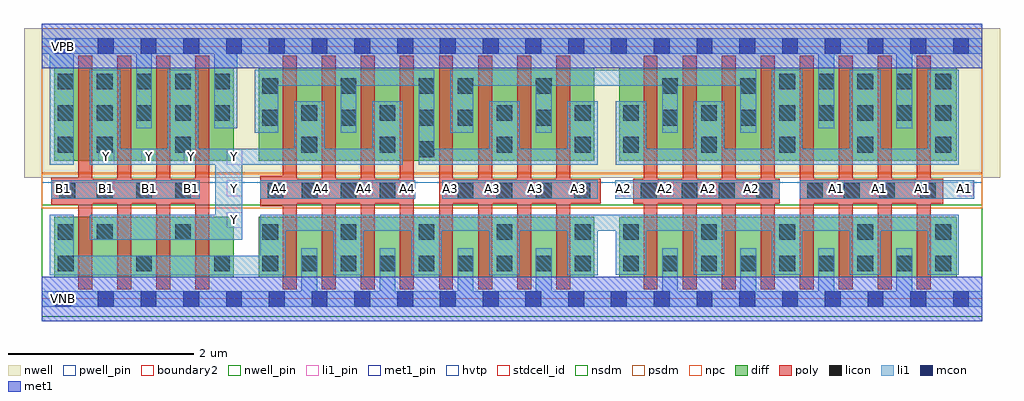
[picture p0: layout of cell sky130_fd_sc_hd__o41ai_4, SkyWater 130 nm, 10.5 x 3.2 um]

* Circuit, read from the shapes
.subckt sky130_fd_sc_hd__o41ai_4 A1 A2 A3 A4 B1 VGND VNB VPB VPWR Y
XM1 Y B1 n1 VNB sky130_fd_pr__nfet_01v8 w=0.65 l=0.15 m=4
XM2 VGND A4 n1 VNB sky130_fd_pr__nfet_01v8 w=0.65 l=0.15 m=4
XM3 VGND A3 n1 VNB sky130_fd_pr__nfet_01v8 w=0.65 l=0.15 m=4
XM4 VGND A2 n1 VNB sky130_fd_pr__nfet_01v8 w=0.65 l=0.15 m=4
XM5 VGND A1 n1 VNB sky130_fd_pr__nfet_01v8 w=0.65 l=0.15 m=4
XM6 Y B1 VPWR VPB sky130_fd_pr__pfet_01v8_hvt w=1 l=0.15 m=4
XM7 Y A4 n2 VPB sky130_fd_pr__pfet_01v8_hvt w=1 l=0.15 m=4
XM8 n3 A3 n2 VPB sky130_fd_pr__pfet_01v8_hvt w=1 l=0.15 m=4
XM9 n3 A2 n4 VPB sky130_fd_pr__pfet_01v8_hvt w=1 l=0.15 m=4
XM10 VPWR A1 n4 VPB sky130_fd_pr__pfet_01v8_hvt w=1 l=0.15 m=4
.ends

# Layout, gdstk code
import gdstk
lib = gdstk.Library(unit=1e-6, precision=1e-09)
def R(c, l, rs):  # rectangles x0, y0, x1, y1
    for r in rs: c.add(gdstk.rectangle(r[:2], r[2:], *l))
def A(c, l, x, y, w, h, nx, ny, dx, dy):  # array of equal rectangles
    R(c, l, [(x+i*dx, y+j*dy, x+i*dx+w, y+j*dy+h) for i in range(nx) for j in range(ny)])
def P(c, l, *ps):  # polygons
    for p in ps: c.add(gdstk.Polygon(p, *l))
nwell_pin = (64, 16)
nwell = (64, 20)
diff = (65, 20)
poly = (66, 20)
licon = (66, 44)
li1_pin = (67, 16)
li1 = (67, 20)
mcon = (67, 44)
met1_pin = (68, 16)
met1 = (68, 20)
hvtp = (78, 44)
stdcell_id = (81, 4)
nsdm = (93, 44)
psdm = (94, 20)
npc = (95, 20)
pwell_pin = (122, 16)
boundary2 = (236, 0)

sky130_fd_sc_hd__o41ai_4 = lib.new_cell('sky130_fd_sc_hd__o41ai_4')
R(sky130_fd_sc_hd__o41ai_4, nwell_pin, [(0.15,2.635,0.32,2.805)])
R(sky130_fd_sc_hd__o41ai_4, nwell, [(-0.19,1.305,10.31,2.91)])
R(sky130_fd_sc_hd__o41ai_4, diff, [(0.135,0.235,2.065,0.885), (2.335,0.235,5.945,0.885), (6.215,0.235,9.845,0.885), (0.135,1.485,2.065,2.485), (2.335,1.485,5.945,2.485), (6.215,1.485,9.845,2.485)])
R(sky130_fd_sc_hd__o41ai_4, poly, [(0.105,1.015,0.395,1.025), (0.105,1.295,0.395,1.305)])
P(sky130_fd_sc_hd__o41ai_4, poly, [(1.805,2.615),(1.655,2.615),(1.655,1.295),(1.385,1.295),(1.385,2.615),(1.235,2.615),(1.235,1.295),(0.965,1.295),(0.965,2.615),(0.815,2.615),(0.815,1.295),(0.545,1.295),(0.545,2.615),(0.395,2.615),(0.395,1.295),(0.105,1.295),(0.105,1.025),(0.395,1.025),(0.395,0.105),(0.545,0.105),(0.545,1.025),(0.815,1.025),(0.815,0.105),(0.965,0.105),(0.965,1.025),(1.235,1.025),(1.235,0.105),(1.385,0.105),(1.385,1.025),(1.655,1.025),(1.655,0.105),(1.805,0.105)],
  [(4.005,2.615),(3.855,2.615),(3.855,1.295),(3.585,1.295),(3.585,2.615),(3.435,2.615),(3.435,1.295),(3.165,1.295),(3.165,2.615),(3.015,2.615),(3.015,1.295),(2.745,1.295),(2.745,2.615),(2.595,2.615),(2.595,1.325),(2.35,1.325),(2.35,0.995),(2.595,0.995),(2.595,0.105),(2.745,0.105),(2.745,1.025),(3.015,1.025),(3.015,0.105),(3.165,0.105),(3.165,1.025),(3.435,1.025),(3.435,0.105),(3.585,0.105),(3.585,1.025),(3.855,1.025),(3.855,0.105),(4.005,0.105)],
  [(6.015,1.295),(5.685,1.295),(5.685,2.615),(5.535,2.615),(5.535,1.295),(5.265,1.295),(5.265,2.615),(5.115,2.615),(5.115,1.295),(4.845,1.295),(4.845,2.615),(4.695,2.615),(4.695,1.295),(4.425,1.295),(4.425,2.615),(4.275,2.615),(4.275,0.105),(4.425,0.105),(4.425,1.025),(4.695,1.025),(4.695,0.105),(4.845,0.105),(4.845,1.025),(5.115,1.025),(5.115,0.105),(5.265,0.105),(5.265,1.025),(5.535,1.025),(5.535,0.105),(5.685,0.105),(5.685,1.025),(6.015,1.025)],
  [(7.94,1.295),(7.885,1.295),(7.885,2.615),(7.735,2.615),(7.735,1.295),(7.465,1.295),(7.465,2.615),(7.315,2.615),(7.315,1.295),(7.045,1.295),(7.045,2.615),(6.895,2.615),(6.895,1.295),(6.625,1.295),(6.625,2.615),(6.475,2.615),(6.475,1.295),(6.365,1.295),(6.365,1.025),(6.475,1.025),(6.475,0.105),(6.625,0.105),(6.625,1.025),(6.895,1.025),(6.895,0.105),(7.045,0.105),(7.045,1.025),(7.315,1.025),(7.315,0.105),(7.465,0.105),(7.465,1.025),(7.735,1.025),(7.735,0.105),(7.885,0.105),(7.885,1.025),(7.94,1.025)],
  [(9.7,1.295),(9.565,1.295),(9.565,2.615),(9.415,2.615),(9.415,1.295),(9.145,1.295),(9.145,2.615),(8.995,2.615),(8.995,1.295),(8.725,1.295),(8.725,2.615),(8.575,2.615),(8.575,1.295),(8.305,1.295),(8.305,2.615),(8.155,2.615),(8.155,0.105),(8.305,0.105),(8.305,1.025),(8.575,1.025),(8.575,0.105),(8.725,0.105),(8.725,1.025),(8.995,1.025),(8.995,0.105),(9.145,0.105),(9.145,1.025),(9.415,1.025),(9.415,0.105),(9.565,0.105),(9.565,1.025),(9.7,1.025)])
A(sky130_fd_sc_hd__o41ai_4, licon, 0.175, 0.295, 0.17, 0.17, 3, 1, 0.84, 0)
A(sky130_fd_sc_hd__o41ai_4, licon, 2.375, 0.295, 0.17, 0.17, 9, 1, 0.42, 0)
A(sky130_fd_sc_hd__o41ai_4, licon, 6.255, 0.295, 0.17, 0.17, 9, 1, 0.42, 0)
A(sky130_fd_sc_hd__o41ai_4, licon, 2.375, 0.635, 0.17, 0.17, 5, 1, 0.84, 0)
A(sky130_fd_sc_hd__o41ai_4, licon, 6.255, 0.635, 0.17, 0.17, 5, 2, 0.84, 0.94)
A(sky130_fd_sc_hd__o41ai_4, licon, 0.595, 1.075, 0.17, 0.17, 3, 1, 0.42, 0)
A(sky130_fd_sc_hd__o41ai_4, licon, 2.375, 1.865, 0.17, 0.17, 3, 2, 0.84, 0.34)
A(sky130_fd_sc_hd__o41ai_4, licon, 0.175, 1.915, 0.17, 0.17, 5, 2, 0.42, 0.34)
A(sky130_fd_sc_hd__o41ai_4, licon, 6.255, 1.915, 0.17, 0.17, 3, 1, 0.84, 0)
A(sky130_fd_sc_hd__o41ai_4, licon, 8.355, 1.915, 0.17, 0.17, 4, 1, 0.42, 0)
A(sky130_fd_sc_hd__o41ai_4, licon, 7.935, 2.255, 0.17, 0.17, 5, 1, 0.42, 0)
R(sky130_fd_sc_hd__o41ai_4, licon, [(0.175,0.635,0.345,0.805), (0.595,0.635,0.765,0.805), (1.435,0.635,1.605,0.805), (0.19,1.075,0.36,1.245), (2.43,1.075,2.6,1.245), (2.8,1.075,2.97,1.245), (3.215,1.075,3.385,1.245), (3.635,1.075,3.805,1.245), (4.475,1.075,4.645,1.245), (4.89,1.075,5.06,1.245), (5.315,1.075,5.485,1.245), (5.73,1.075,5.9,1.245), (6.445,1.075,6.615,1.245), (6.885,1.075,7.055,1.245), (7.285,1.075,7.455,1.245), (7.69,1.075,7.86,1.245), (8.235,1.075,8.405,1.245), (8.63,1.075,8.8,1.245), (9.01,1.075,9.18,1.245), (9.45,1.075,9.62,1.245), (4.055,1.525,4.225,1.695), (0.175,1.575,0.345,1.745), (0.595,1.575,0.765,1.745), (1.435,1.575,1.605,1.745), (2.795,1.575,2.965,1.745), (3.635,1.575,3.805,1.745), (4.895,1.575,5.065,1.745), (5.735,1.575,5.905,1.745), (4.475,1.865,4.645,2.035), (5.315,1.865,5.485,2.035), (6.675,1.865,6.845,2.035), (7.515,1.865,7.685,2.035), (2.795,1.915,2.965,2.085), (3.635,1.915,3.805,2.085), (4.895,1.915,5.065,2.085), (5.735,1.915,5.905,2.085), (4.475,2.205,4.645,2.375), (5.315,2.205,5.485,2.375), (6.675,2.205,6.845,2.375), (7.515,2.205,7.685,2.375)])
A(sky130_fd_sc_hd__o41ai_4, li1_pin, 0.15, 1.105, 0.17, 0.17, 5, 1, 0.46, 0)
A(sky130_fd_sc_hd__o41ai_4, li1_pin, 2.47, 1.105, 0.17, 0.17, 8, 1, 0.46, 0)
A(sky130_fd_sc_hd__o41ai_4, li1_pin, 6.17, 1.105, 0.17, 0.17, 4, 1, 0.46, 0)
A(sky130_fd_sc_hd__o41ai_4, li1_pin, 8.47, 1.105, 0.17, 0.17, 4, 1, 0.46, 0)
A(sky130_fd_sc_hd__o41ai_4, li1_pin, 0.61, 1.445, 0.17, 0.17, 4, 1, 0.46, 0)
R(sky130_fd_sc_hd__o41ai_4, li1_pin, [(1.99,0.765,2.16,0.935)])
R(sky130_fd_sc_hd__o41ai_4, li1, [(0.105,1.075,1.7,1.275), (2.35,1.075,4.02,1.275), (4.31,1.075,5.98,1.275), (6.17,1.075,7.94,1.275), (8.155,1.075,10.035,1.275)])
P(sky130_fd_sc_hd__o41ai_4, li1, [(3.885,2.125),(3.555,2.125),(3.555,1.615),(3.045,1.615),(3.045,2.125),(2.715,2.125),(2.715,1.615),(1.685,1.615),(1.685,2.465),(1.355,2.465),(1.355,1.615),(0.845,1.615),(0.845,2.465),(0.515,2.465),(0.515,1.445),(1.87,1.445),(1.87,0.905),(0.515,0.905),(0.515,0.635),(2.16,0.635),(2.16,1.445),(3.885,1.445)],
  [(5.985,2.125),(5.655,2.125),(5.655,1.615),(5.145,1.615),(5.145,2.125),(4.815,2.125),(4.815,1.615),(4.225,1.615),(4.225,2.465),(2.295,2.465),(2.295,1.785),(2.545,1.785),(2.545,2.295),(3.215,2.295),(3.215,1.785),(3.385,1.785),(3.385,2.295),(4.055,2.295),(4.055,1.445),(5.985,1.445)],
  [(10.12,0.085),(9.365,0.085),(9.365,0.545),(9.195,0.545),(9.195,0.085),(8.525,0.085),(8.525,0.545),(8.355,0.545),(8.355,0.085),(7.685,0.085),(7.685,0.545),(7.515,0.545),(7.515,0.085),(6.845,0.085),(6.845,0.545),(6.675,0.545),(6.675,0.085),(5.485,0.085),(5.485,0.545),(5.315,0.545),(5.315,0.085),(4.645,0.085),(4.645,0.545),(4.475,0.545),(4.475,0.085),(3.805,0.085),(3.805,0.545),(3.635,0.545),(3.635,0.085),(2.965,0.085),(2.965,0.545),(2.795,0.545),(2.795,0.085),(0,0.085),(0,-0.085),(10.12,-0.085)],
  [(10.12,2.805),(0,2.805),(0,2.635),(0.085,2.635),(0.085,1.445),(0.345,1.445),(0.345,2.635),(1.015,2.635),(1.015,1.835),(1.185,1.835),(1.185,2.635),(1.855,2.635),(1.855,1.835),(2.105,1.835),(2.105,2.635),(8.355,2.635),(8.355,1.835),(8.525,1.835),(8.525,2.635),(9.195,2.635),(9.195,1.835),(9.365,1.835),(9.365,2.635),(10.12,2.635)],
  [(7.685,2.465),(4.395,2.465),(4.395,1.785),(4.645,1.785),(4.645,2.295),(5.315,2.295),(5.315,1.785),(5.485,1.785),(5.485,2.295),(6.675,2.295),(6.675,1.785),(6.845,1.785),(6.845,2.295),(7.515,2.295),(7.515,1.785),(7.685,1.785)],
  [(9.865,2.465),(9.535,2.465),(9.535,1.615),(9.025,1.615),(9.025,2.465),(8.695,2.465),(8.695,1.615),(8.185,1.615),(8.185,2.465),(7.855,2.465),(7.855,1.615),(7.345,1.615),(7.345,2.125),(7.015,2.125),(7.015,1.615),(6.505,1.615),(6.505,2.125),(6.175,2.125),(6.175,1.445),(9.865,1.445)],
  [(9.865,0.905),(2.35,0.905),(2.35,0.465),(0.345,0.465),(0.345,0.905),(0.085,0.905),(0.085,0.255),(2.625,0.255),(2.625,0.735),(3.135,0.735),(3.135,0.255),(3.465,0.255),(3.465,0.735),(3.975,0.735),(3.975,0.255),(4.305,0.255),(4.305,0.735),(4.815,0.735),(4.815,0.255),(5.145,0.255),(5.145,0.735),(5.655,0.735),(5.655,0.255),(5.985,0.255),(5.985,0.735),(6.175,0.735),(6.175,0.26),(6.505,0.26),(6.505,0.735),(7.015,0.735),(7.015,0.26),(7.345,0.26),(7.345,0.735),(7.855,0.735),(7.855,0.26),(8.185,0.26),(8.185,0.735),(8.695,0.735),(8.695,0.26),(9.025,0.26),(9.025,0.735),(9.535,0.735),(9.535,0.26),(9.865,0.26)])
A(sky130_fd_sc_hd__o41ai_4, mcon, 0.145, -0.085, 0.17, 0.17, 22, 2, 0.46, 2.72)
R(sky130_fd_sc_hd__o41ai_4, met1_pin, [(0.15,-0.085,0.32,0.085), (0.15,2.635,0.32,2.805)])
R(sky130_fd_sc_hd__o41ai_4, hvtp, [(0,1.25,10.12,2.72)])
R(sky130_fd_sc_hd__o41ai_4, stdcell_id, [(0,0,10.12,2.72)])
R(sky130_fd_sc_hd__o41ai_4, nsdm, [(0,-0.19,10.12,1.015)])
R(sky130_fd_sc_hd__o41ai_4, psdm, [(0,1.355,10.12,2.91)])
R(sky130_fd_sc_hd__o41ai_4, npc, [(0,0.975,10.12,1.345)])
R(sky130_fd_sc_hd__o41ai_4, pwell_pin, [(0.15,-0.085,0.32,0.085)])
R(sky130_fd_sc_hd__o41ai_4, boundary2, [(0,0,10.12,2.72)])
sky130_fd_sc_hd__o41ai_4.add(gdstk.FlexPath([(0,2.72),(10.12,2.72)], 0.48, ends="flush", simple_path=True, layer=68, datatype=20))  # met1
sky130_fd_sc_hd__o41ai_4.add(gdstk.FlexPath([(0,0),(10.12,0)], 0.48, ends="flush", simple_path=True, layer=68, datatype=20))  # met1
sky130_fd_sc_hd__o41ai_4.add(gdstk.Label('A1', (9.93,1.19), layer=67, texttype=5))
sky130_fd_sc_hd__o41ai_4.add(gdstk.Label('A1', (9.475,1.19), layer=67, texttype=5))
sky130_fd_sc_hd__o41ai_4.add(gdstk.Label('A1', (9.015,1.19), layer=67, texttype=5))
sky130_fd_sc_hd__o41ai_4.add(gdstk.Label('A1', (8.555,1.19), layer=67, texttype=5))
sky130_fd_sc_hd__o41ai_4.add(gdstk.Label('A2', (7.635,1.19), layer=67, texttype=5))
sky130_fd_sc_hd__o41ai_4.add(gdstk.Label('A2', (7.175,1.19), layer=67, texttype=5))
sky130_fd_sc_hd__o41ai_4.add(gdstk.Label('A2', (6.715,1.19), layer=67, texttype=5))
sky130_fd_sc_hd__o41ai_4.add(gdstk.Label('A2', (6.255,1.19), layer=67, texttype=5))
sky130_fd_sc_hd__o41ai_4.add(gdstk.Label('A3', (5.775,1.19), layer=67, texttype=5))
sky130_fd_sc_hd__o41ai_4.add(gdstk.Label('A3', (5.315,1.19), layer=67, texttype=5))
sky130_fd_sc_hd__o41ai_4.add(gdstk.Label('A3', (4.855,1.19), layer=67, texttype=5))
sky130_fd_sc_hd__o41ai_4.add(gdstk.Label('A3', (4.395,1.19), layer=67, texttype=5))
sky130_fd_sc_hd__o41ai_4.add(gdstk.Label('A4', (3.935,1.19), layer=67, texttype=5))
sky130_fd_sc_hd__o41ai_4.add(gdstk.Label('A4', (3.475,1.19), layer=67, texttype=5))
sky130_fd_sc_hd__o41ai_4.add(gdstk.Label('A4', (3.015,1.19), layer=67, texttype=5))
sky130_fd_sc_hd__o41ai_4.add(gdstk.Label('A4', (2.555,1.19), layer=67, texttype=5))
sky130_fd_sc_hd__o41ai_4.add(gdstk.Label('Y', (2.075,0.85), layer=67, texttype=5))
sky130_fd_sc_hd__o41ai_4.add(gdstk.Label('Y', (2.075,1.19), layer=67, texttype=5))
sky130_fd_sc_hd__o41ai_4.add(gdstk.Label('Y', (2.075,1.53), layer=67, texttype=5))
sky130_fd_sc_hd__o41ai_4.add(gdstk.Label('Y', (1.615,1.53), layer=67, texttype=5))
sky130_fd_sc_hd__o41ai_4.add(gdstk.Label('Y', (1.155,1.53), layer=67, texttype=5))
sky130_fd_sc_hd__o41ai_4.add(gdstk.Label('Y', (0.695,1.53), layer=67, texttype=5))
sky130_fd_sc_hd__o41ai_4.add(gdstk.Label('B1', (1.615,1.19), layer=67, texttype=5))
sky130_fd_sc_hd__o41ai_4.add(gdstk.Label('B1', (1.155,1.19), layer=67, texttype=5))
sky130_fd_sc_hd__o41ai_4.add(gdstk.Label('B1', (0.695,1.19), layer=67, texttype=5))
sky130_fd_sc_hd__o41ai_4.add(gdstk.Label('B1', (0.235,1.19), layer=67, texttype=5))
sky130_fd_sc_hd__o41ai_4.add(gdstk.Label('VNB', (0.23,0), layer=64, texttype=59))
sky130_fd_sc_hd__o41ai_4.add(gdstk.Label('VPB', (0.23,2.72), layer=64, texttype=5))
sky130_fd_sc_hd__o41ai_4.add(gdstk.Label('VGND', (0.23,0), layer=68, texttype=5))
sky130_fd_sc_hd__o41ai_4.add(gdstk.Label('VPWR', (0.23,2.72), layer=68, texttype=5))
sky130_fd_sc_hd__o41ai_4.add(gdstk.Label('o41ai_4', (0,0), layer=83, texttype=44))

lib.write_gds('sky130_fd_sc_hd__o41ai_4.gds')
